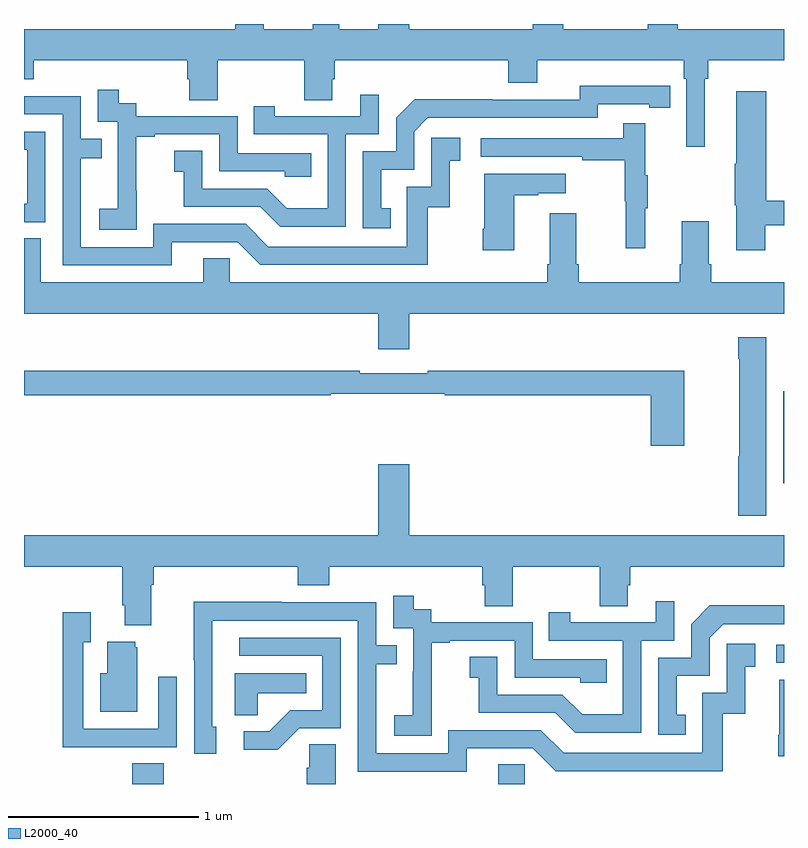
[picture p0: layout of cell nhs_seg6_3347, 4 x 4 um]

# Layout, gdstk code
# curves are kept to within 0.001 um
import gdstk
lib = gdstk.Library(unit=1e-6, precision=1e-09)
def R(c, l, rs):  # rectangles x0, y0, x1, y1
    for r in rs: c.add(gdstk.rectangle(r[:2], r[2:], *l))
def P(c, l, *ps):  # polygons
    for p in ps: c.add(gdstk.Polygon(p, *l))
L2000_40 = (2000, 40)

nhs_seg6_3347 = lib.new_cell('nhs_seg6_3347')
R(nhs_seg6_3347, L2000_40, [(307.571,971.5,307.736,971.609), (309.497,971.5,309.636,971.603), (310.959,972.138,311,972.234), (310.995,973.083,311,973.567)])
P(nhs_seg6_3347, L2000_40, [(310.582,975.212),(310.601,975.212),(310.601,975.308),(311,975.308),(311,975.472),(310.442,975.472),(310.442,975.5),(310.282,975.5),(310.282,975.472),(309.837,975.472),(309.837,975.5),(309.677,975.5),(309.677,975.472),(309.028,975.472),(309.028,975.5),(308.864,975.5),(308.864,975.472),(308.659,975.472),(308.659,975.5),(308.519,975.5),(308.519,975.472),(308.263,975.472),(308.263,975.5),(308.111,975.5),(308.111,975.472),(307,975.472),(307,975.209),(307.052,975.209),(307.052,975.308),(307.859,975.308),(307.859,975.21),(307.871,975.21),(307.871,975.1),(308.019,975.1),(308.019,975.308),(308.476,975.308),(308.476,975.1),(308.623,975.1),(308.623,975.21),(308.636,975.21),(308.636,975.308),(309.548,975.308),(309.548,975.191),(309.7,975.191),(309.7,975.308),(310.472,975.308),(310.472,975.212),(310.485,975.212),(310.485,974.853),(310.582,974.853)],
  [(308.93,974.529),(308.881,974.529),(308.881,974.733),(309.054,974.733),(309.054,974.934),(309.126,975.006),(310.02,975.006),(310.02,975.078),(310.292,975.078),(310.292,975.058),(310.4,975.058),(310.4,975.174),(309.924,975.175),(309.924,975.102),(309.464,975.102),(309.464,975.104),(309.056,975.104),(308.958,975.006),(308.958,974.829),(308.784,974.829),(308.784,974.424),(308.93,974.424)],
  [(307.593,974.623),(307.592,974.623),(307.592,974.907),(307.687,974.907),(307.687,974.919),(308.028,974.919),(308.028,974.724),(308.373,974.724),(308.373,974.697),(308.513,974.697),(308.513,974.82),(308.124,974.82),(308.124,975.015),(307.59,975.015),(307.59,975.084),(307.498,975.084),(307.498,975.154),(307.389,975.154),(307.389,974.985),(307.494,974.985),(307.494,974.756),(307.493,974.756),(307.493,974.527),(307.395,974.527),(307.395,974.417),(307.593,974.417)],
  [(310.902,974.442),(311,974.442),(311,974.57),(310.907,974.57),(310.907,975.145),(310.748,975.145),(310.748,974.765),(310.741,974.765),(310.741,974.547),(310.748,974.547),(310.748,974.31),(310.902,974.31)],
  [(308.694,974.919),(308.868,974.919),(308.868,975.127),(308.771,975.127),(308.771,975.015),(308.32,975.015),(308.32,975.067),(308.209,975.067),(308.209,974.919),(308.598,974.919),(308.598,974.53),(308.384,974.53),(308.28,974.634),(307.938,974.634),(307.938,974.833),(307.791,974.833),(307.791,974.723),(307.84,974.723),(307.84,974.538),(308.243,974.538),(308.348,974.433),(308.694,974.433)],
  [(307.777,974.352),(308.124,974.352),(308.244,974.232),(309.124,974.232),(309.124,974.535),(309.242,974.535),(309.242,974.781),(309.295,974.781),(309.295,974.902),(309.144,974.902),(309.144,974.643),(309.015,974.643),(309.015,974.328),(308.286,974.328),(308.166,974.448),(307.68,974.448),(307.68,974.325),(307.299,974.325),(307.299,974.794),(307.409,974.794),(307.409,974.895),(307.299,974.895),(307.299,975.12),(307,975.12),(307,975.024),(307.203,975.024),(307.203,974.229),(307.777,974.229)],
  [(310.271,974.531),(310.282,974.531),(310.282,974.705),(310.271,974.705),(310.271,974.977),(310.153,974.977),(310.153,974.898),(309.405,974.898),(309.405,974.802),(309.937,974.802),(309.937,974.782),(310.161,974.782),(310.161,974.568),(310.168,974.568),(310.168,974.319),(310.271,974.319)],
  [(307.113,974.934),(307,974.934),(307,974.838),(307.017,974.838),(307.017,974.553),(307,974.553),(307,974.457),(307.113,974.457)],
  [(309.58,974.599),(309.707,974.599),(309.707,974.609),(309.85,974.609),(309.85,974.713),(309.422,974.713),(309.422,974.422),(309.415,974.422),(309.415,974.31),(309.58,974.31)],
  [(309.028,973.976),(311,973.976),(311,974.14),(310.616,974.14),(310.616,974.236),(310.603,974.236),(310.603,974.461),(310.463,974.461),(310.463,974.236),(310.451,974.236),(310.451,974.14),(309.92,974.14),(309.92,974.236),(309.907,974.236),(309.907,974.503),(309.767,974.503),(309.767,974.236),(309.755,974.236),(309.755,974.14),(308.082,974.14),(308.082,974.267),(307.943,974.267),(307.943,974.14),(307.087,974.14),(307.087,974.372),(307,974.372),(307,973.976),(308.864,973.976),(308.864,973.788),(309.028,973.788)],
  [(310.906,973.852),(310.76,973.852),(310.76,973.739),(310.765,973.739),(310.765,973.224),(310.76,973.224),(310.76,972.912),(310.906,972.912)],
  [(310.476,973.675),(309.124,973.675),(309.124,973.662),(308.768,973.662),(308.768,973.675),(307,973.675),(307,973.546),(308.614,973.546),(308.614,973.554),(309.214,973.554),(309.214,973.546),(310.298,973.546),(310.298,973.281),(310.476,973.281)],
  [(307.669,972.548),(307.682,972.548),(307.682,972.644),(308.441,972.644),(308.441,972.545),(308.606,972.545),(308.606,972.644),(309.413,972.644),(309.413,972.546),(309.425,972.546),(309.425,972.436),(309.573,972.436),(309.573,972.644),(310.03,972.644),(310.03,972.436),(310.177,972.436),(310.177,972.546),(310.19,972.546),(310.19,972.644),(311,972.644),(311,972.808),(309.028,972.808),(309.028,973.183),(308.864,973.183),(308.864,972.808),(307,972.808),(307,972.644),(307.517,972.644),(307.517,972.442),(307.529,972.442),(307.529,972.335),(307.669,972.335)],
  [(309.147,971.959),(309.146,971.959),(309.146,972.243),(309.241,972.243),(309.241,972.255),(309.582,972.255),(309.582,972.06),(309.927,972.06),(309.927,972.033),(310.067,972.033),(310.067,972.156),(309.678,972.156),(309.678,972.351),(309.144,972.351),(309.144,972.42),(309.052,972.42),(309.052,972.49),(308.943,972.49),(308.943,972.321),(309.048,972.321),(309.048,972.092),(309.047,972.092),(309.047,971.863),(308.949,971.863),(308.949,971.753),(309.147,971.753)],
  [(310.248,972.255),(310.422,972.255),(310.422,972.463),(310.325,972.463),(310.325,972.351),(309.874,972.351),(309.874,972.403),(309.763,972.403),(309.763,972.255),(310.152,972.255),(310.152,971.866),(309.938,971.866),(309.834,971.97),(309.492,971.97),(309.492,972.169),(309.345,972.169),(309.345,972.059),(309.394,972.059),(309.394,971.874),(309.797,971.874),(309.902,971.769),(310.248,971.769)],
  [(309.331,971.688),(309.678,971.688),(309.798,971.568),(310.678,971.568),(310.678,971.871),(310.796,971.871),(310.796,972.117),(310.849,972.117),(310.849,972.238),(310.698,972.238),(310.698,971.979),(310.569,971.979),(310.569,971.664),(309.84,971.664),(309.72,971.784),(309.234,971.784),(309.234,971.661),(308.853,971.661),(308.853,972.13),(308.963,972.13),(308.963,972.231),(308.853,972.231),(308.853,972.456),(308.357,972.456),(308.357,972.458),(307.894,972.458),(307.894,972.151),(307.896,972.151),(307.896,971.658),(308.011,971.658),(308.011,971.802),(307.992,971.802),(307.992,972.36),(308.757,972.36),(308.757,971.565),(309.331,971.565)],
  [(310.484,971.865),(310.435,971.865),(310.435,972.069),(310.608,972.069),(310.608,972.27),(310.68,972.342),(311,972.342),(311,972.44),(310.61,972.44),(310.512,972.342),(310.512,972.165),(310.338,972.165),(310.338,971.76),(310.484,971.76)],
  [(307.487,971.694),(307.803,971.694),(307.803,972.064),(307.707,972.064),(307.707,971.79),(307.311,971.79),(307.311,972.247),(307.351,972.247),(307.351,972.403),(307.203,972.403),(307.203,971.693),(307.487,971.693)],
  [(308.448,971.793),(308.667,971.793),(308.667,972.27),(308.133,972.27),(308.133,972.174),(308.571,972.174),(308.571,971.889),(308.402,971.889),(308.291,971.778),(308.157,971.778),(308.157,971.681),(308.335,971.681)],
  [(307.597,972.219),(307.586,972.219),(307.586,972.25),(307.439,972.25),(307.439,972.082),(307.4,972.082),(307.4,971.879),(307.597,971.879)],
  [(308.229,971.978),(308.486,971.978),(308.486,972.082),(308.108,972.082),(308.108,971.863),(308.229,971.863)],
  [(311,972.049),(310.976,972.049),(310.976,971.758),(310.969,971.758),(310.969,971.646),(311,971.646)],
  [(308.641,971.708),(308.502,971.708),(308.502,971.585),(308.489,971.585),(308.489,971.5),(308.641,971.5)])

lib.write_gds('nhs_seg6_3347.gds')
